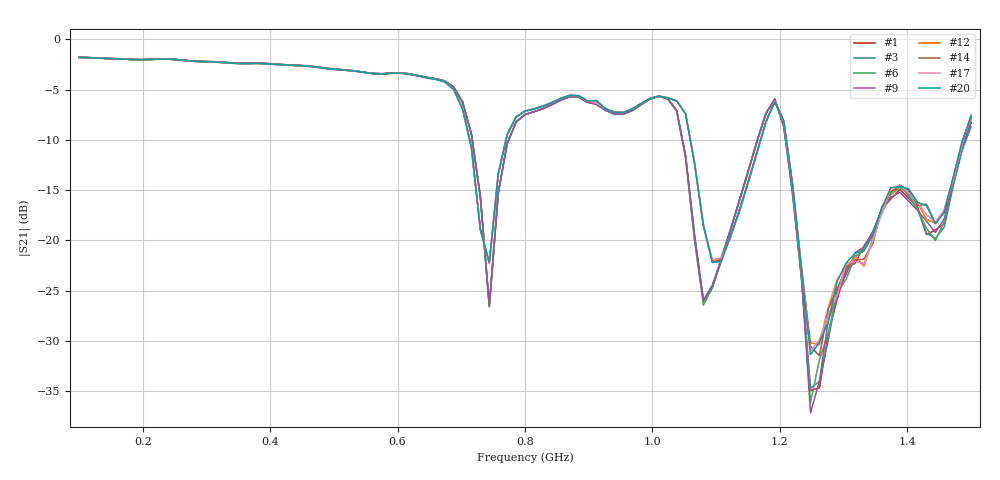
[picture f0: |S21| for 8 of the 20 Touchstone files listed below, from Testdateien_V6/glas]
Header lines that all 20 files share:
! NanoVNA-App
! Start: 100MHz Stop: 1,5GHz Points: 101
! S-Parameter data: F S11 S21 S12 S22
# Hz S RI R 50
!  Frequency  S11_Real  S11_Imag  S21_Real  S21_Imag  S12_Real  S12_Imag  S22_Real  S22_Imag
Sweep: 100 MHz to 1.5 GHz
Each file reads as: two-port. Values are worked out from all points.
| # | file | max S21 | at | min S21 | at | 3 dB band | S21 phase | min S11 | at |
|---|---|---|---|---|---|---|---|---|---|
| 1 | glas (101).s2p | -1.79 dB | 100 MHz | -34.9 dB | 1.248 GHz | 100 MHz-688 MHz | 92 deg at 800 MHz | -39.3 dB | 128 MHz |
| 2 | glas (102).s2p | -1.79 dB | 100 MHz | -33.7 dB | 1.262 GHz | 100 MHz-688 MHz | 92 deg at 800 MHz | -39.3 dB | 128 MHz |
| 3 | glas (103).s2p | -1.79 dB | 100 MHz | -34.7 dB | 1.248 GHz | 100 MHz-688 MHz | 92 deg at 800 MHz | -39.3 dB | 128 MHz |
| 4 | glas (104).s2p | -1.79 dB | 100 MHz | -34.4 dB | 1.248 GHz | 100 MHz-688 MHz | 92 deg at 800 MHz | -39.3 dB | 128 MHz |
| 5 | glas (105).s2p | -1.79 dB | 100 MHz | -35.3 dB | 1.248 GHz | 100 MHz-688 MHz | 92 deg at 800 MHz | -39.3 dB | 128 MHz |
| 6 | glas (106).s2p | -1.79 dB | 100 MHz | -36.1 dB | 1.248 GHz | 100 MHz-688 MHz | 92 deg at 800 MHz | -39.3 dB | 492 MHz |
| 7 | glas (107).s2p | -1.79 dB | 100 MHz | -33.7 dB | 1.248 GHz | 100 MHz-688 MHz | 92 deg at 800 MHz | -39.3 dB | 128 MHz |
| 8 | glas (108).s2p | -1.79 dB | 100 MHz | -33.7 dB | 1.248 GHz | 100 MHz-688 MHz | 92 deg at 800 MHz | -39.3 dB | 128 MHz |
| 9 | glas (109).s2p | -1.79 dB | 100 MHz | -37.1 dB | 1.248 GHz | 100 MHz-688 MHz | 92 deg at 800 MHz | -39.3 dB | 128 MHz |
| 10 | glas (110).s2p | -1.79 dB | 100 MHz | -34.4 dB | 1.248 GHz | 100 MHz-688 MHz | 92 deg at 800 MHz | -39.2 dB | 128 MHz |
| 11 | glas (111).s2p | -1.79 dB | 100 MHz | -34.0 dB | 1.248 GHz | 100 MHz-688 MHz | 92 deg at 800 MHz | -39.3 dB | 128 MHz |
| 12 | glas (112).s2p | -1.80 dB | 100 MHz | -30.3 dB | 1.262 GHz | 100 MHz-674 MHz | 91 deg at 800 MHz | -39.4 dB | 128 MHz |
| 13 | glas (113).s2p | -1.80 dB | 100 MHz | -31.1 dB | 1.248 GHz | 100 MHz-674 MHz | 91 deg at 800 MHz | -39.3 dB | 128 MHz |
| 14 | glas (114).s2p | -1.80 dB | 100 MHz | -31.4 dB | 1.262 GHz | 100 MHz-674 MHz | 91 deg at 800 MHz | -39.3 dB | 128 MHz |
| 15 | glas (115).s2p | -1.80 dB | 100 MHz | -31.7 dB | 1.248 GHz | 100 MHz-674 MHz | 91 deg at 800 MHz | -39.4 dB | 128 MHz |
| 16 | glas (116).s2p | -1.80 dB | 100 MHz | -33.2 dB | 1.248 GHz | 100 MHz-674 MHz | 91 deg at 800 MHz | -39.3 dB | 128 MHz |
| 17 | glas (117).s2p | -1.80 dB | 100 MHz | -31.0 dB | 1.248 GHz | 100 MHz-674 MHz | 91 deg at 800 MHz | -39.3 dB | 128 MHz |
| 18 | glas (118).s2p | -1.80 dB | 100 MHz | -30.9 dB | 1.262 GHz | 100 MHz-674 MHz | 91 deg at 800 MHz | -39.4 dB | 128 MHz |
| 19 | glas (119).s2p | -1.80 dB | 100 MHz | -31.7 dB | 1.262 GHz | 100 MHz-674 MHz | 91 deg at 800 MHz | -39.3 dB | 128 MHz |
| 20 | glas (120).s2p | -1.80 dB | 100 MHz | -31.4 dB | 1.248 GHz | 100 MHz-674 MHz | 91 deg at 800 MHz | -39.3 dB | 128 MHz |
